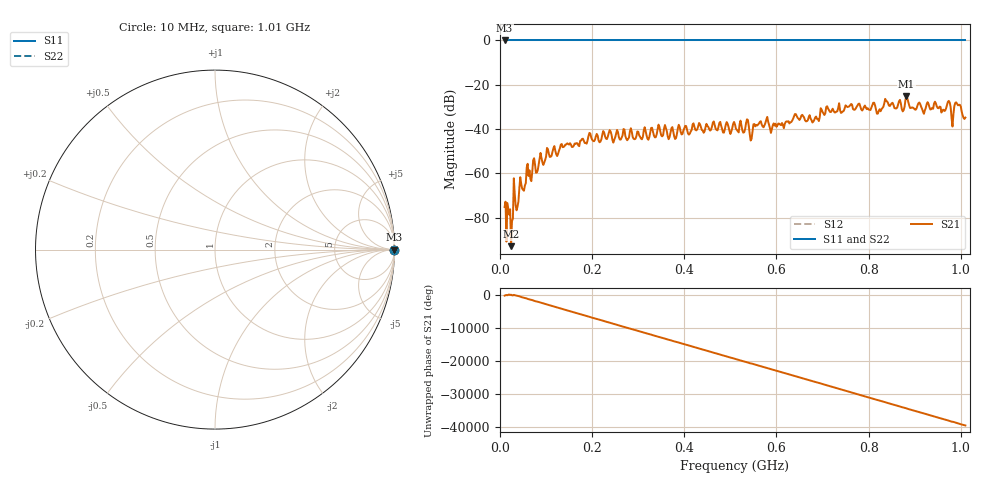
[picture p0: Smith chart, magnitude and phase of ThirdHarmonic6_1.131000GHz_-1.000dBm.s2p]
! 8/16/2025 11:00:21 AM
! C:\ANRITSUVNA\TEMP\TEMP.S2P
! CHANNEL.1
! TR.MEASUREMENT
! RAW.DATA
! RF.CORRECTION.OFF
! AVERAGING.OFF
! IF.BANDWIDTH: 5KHZ
! SWEEPTYPE:  FREQ.SWEEP(Linear)
! Reference Plane Port Info
! PORT:  PORT1  PORT2
! DISTANCE:  0  m  0  m
! TIME:  0  s  0  s
! PHASE.OFFSET:  0  deg.  0  deg.
! LOSS:  0  dB  0  dB
! REF.LOSS:  0  dB  0  dB
! REF.FREQ:  0  Hz  0  Hz
! Power Info
! POWER:  -20  dBm  -20  dBm
! EFF.POWER:  -20  dBm  -20  dBm
! SOURCE.ATTEN:  0  dB  0  dB
! TEST.ATTEN:  0  dB  0  dB
# GHZ S RI R 50.0
! FREQ.GHZ  S11RE  S11IM  S21RE  S21IM  S12RE  S12IM  S22RE  S22IM
!; PortSelection: Port_12
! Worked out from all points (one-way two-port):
!   501 points, 10 MHz to 1.01 GHz, reference 50 ohm
!   highest |S21| = -25.27 dB at 882 MHz (marker M1); lowest = -92.8 dB at 24 MHz (marker M2)
!   lowest |S11| = 0.0 dB at 10 MHz (marker M3)
!   |S11| at or under -10 dB: nowhere
!   |S22| runs from 0.0 to 0.0 dB; largest |S21 - S12| = 1
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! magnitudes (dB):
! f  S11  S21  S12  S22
! 10 MHz  0.0  -75.1  0.0  0.0
! 24 MHz  0.0  -92.8  0.0  0.0
! 60 MHz  0.0  -55.6  0.0  0.0
! 104 MHz  0.0  -49.1  0.0  0.0
! 178 MHz  0.0  -44.4  0.0  0.0
! 344 MHz  0.0  -38.0  0.0  0.0
! 380 MHz  0.0  -44.5  0.0  0.0
! 510 MHz  0.0  -37.9  0.0  0.0
! 536 MHz  0.0  -35.6  0.0  0.0
! 544 MHz  0.0  -45.1  0.0  0.0
! 578 MHz  0.0  -35.7  0.0  0.0
! 588 MHz  0.0  -41.7  0.0  0.0
! 642 MHz  0.0  -33.2  0.0  0.0
! 678 MHz  0.0  -37.0  0.0  0.0
! 712 MHz  0.0  -30.7  0.0  0.0
! 844 MHz  0.0  -29.4  0.0  0.0
! 882 MHz  0.0  -25.3  0.0  0.0
! 920 MHz  0.0  -33.1  0.0  0.0
! 974 MHz  0.0  -27.3  0.0  0.0
! 982 MHz  0.0  -38.8  0.0  0.0
! 992 MHz  0.0  -28.6  0.0  0.0
! 1.01 GHz  0.0  -34.8  0.0  0.0
